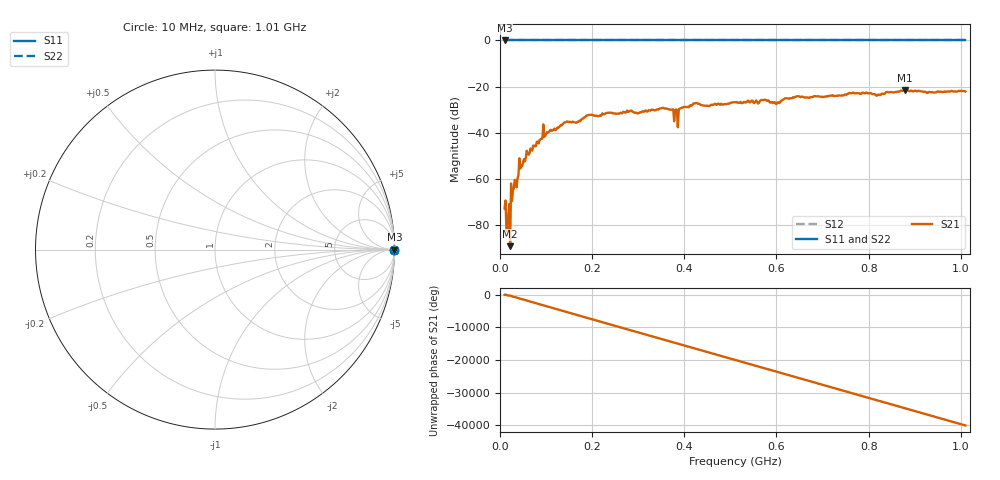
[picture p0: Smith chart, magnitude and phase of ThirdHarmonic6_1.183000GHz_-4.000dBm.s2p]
! 8/16/2025 12:05:31 PM
! C:\ANRITSUVNA\TEMP\TEMP.S2P
! CHANNEL.1
! TR.MEASUREMENT
! RAW.DATA
! RF.CORRECTION.OFF
! AVERAGING.OFF
! IF.BANDWIDTH: 5KHZ
! SWEEPTYPE:  FREQ.SWEEP(Linear)
! Reference Plane Port Info
! PORT:  PORT1  PORT2
! DISTANCE:  0  m  0  m
! TIME:  0  s  0  s
! PHASE.OFFSET:  0  deg.  0  deg.
! LOSS:  0  dB  0  dB
! REF.LOSS:  0  dB  0  dB
! REF.FREQ:  0  Hz  0  Hz
! Power Info
! POWER:  -20  dBm  -20  dBm
! EFF.POWER:  -20  dBm  -20  dBm
! SOURCE.ATTEN:  0  dB  0  dB
! TEST.ATTEN:  0  dB  0  dB
# GHZ S RI R 50.0
! FREQ.GHZ  S11RE  S11IM  S21RE  S21IM  S12RE  S12IM  S22RE  S22IM
!; PortSelection: Port_12
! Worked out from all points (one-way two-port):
!   501 points, 10 MHz to 1.01 GHz, reference 50 ohm
!   highest |S21| = -21.63 dB at 878 MHz (marker M1); lowest = -89.3 dB at 22 MHz (marker M2)
!   lowest |S11| = 0.0 dB at 10 MHz (marker M3)
!   |S11| at or under -10 dB: nowhere
!   |S22| runs from 0.0 to 0.0 dB; largest |S21 - S12| = 1.1
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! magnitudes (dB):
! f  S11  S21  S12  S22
! 10 MHz  0.0  -72.9  0.0  0.0
! 18 MHz  0.0  -76.1  0.0  0.0
! 22 MHz  0.0  -89.3  0.0  0.0
! 26 MHz  0.0  -69.7  0.0  0.0
! 28 MHz  0.0  -65.2  0.0  0.0
! 46 MHz  0.0  -54.3  0.0  0.0
! 90 MHz  0.0  -42.6  0.0  0.0
! 142 MHz  0.0  -35.5  0.0  0.0
! 178 MHz  0.0  -34.2  0.0  0.0
! 192 MHz  0.0  -32.3  0.0  0.0
! 344 MHz  0.0  -30.0  0.0  0.0
! 372 MHz  0.0  -30.1  0.0  0.0
! 382 MHz  0.0  -30.0  0.0  0.0
! 392 MHz  0.0  -29.4  0.0  0.0
! 424 MHz  0.0  -27.2  0.0  0.0
! 510 MHz  0.0  -26.8  0.0  0.0
! 602 MHz  0.0  -27.0  0.0  0.0
! 644 MHz  0.0  -24.3  0.0  0.0
! 678 MHz  0.0  -24.6  0.0  0.0
! 844 MHz  0.0  -22.5  0.0  0.0
! 878 MHz  0.0  -21.6  0.0  0.0
! 1.01 GHz  0.0  -22.2  0.0  0.0
